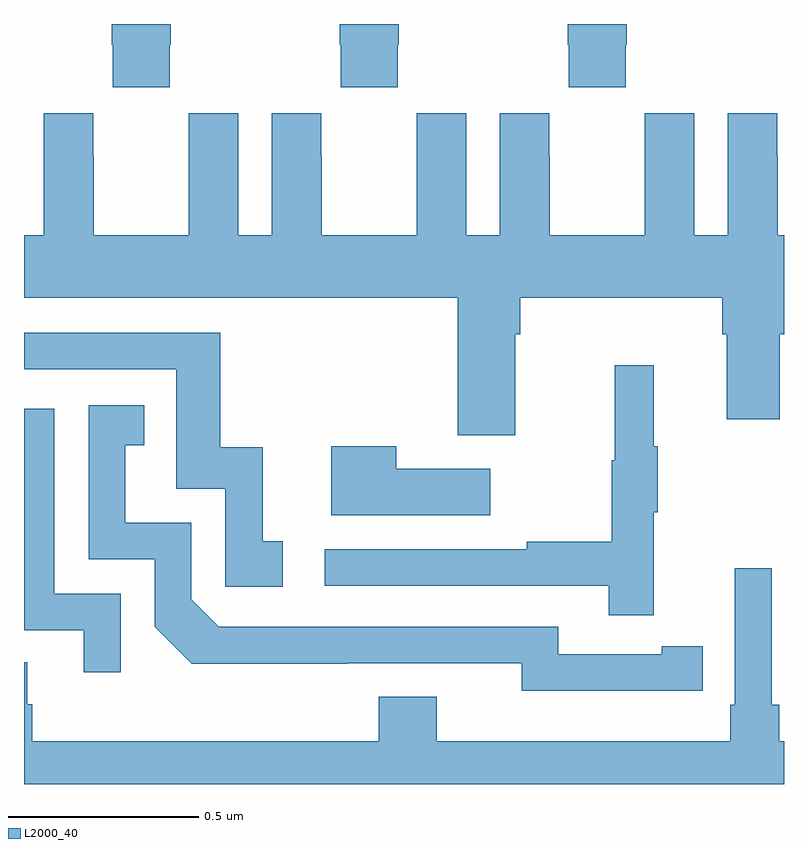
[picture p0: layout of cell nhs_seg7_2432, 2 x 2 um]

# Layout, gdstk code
import gdstk
lib = gdstk.Library(unit=1e-6, precision=1e-09)
def P(c, l, *ps):  # polygons
    for p in ps: c.add(gdstk.Polygon(p, *l))
L2000_40 = (2000, 40)

nhs_seg7_2432 = lib.new_cell('nhs_seg7_2432')
P(nhs_seg7_2432, L2000_40, [(146.583,1003.945),(146.586,1003.945),(146.586,1004),(146.431,1004),(146.431,1003.945),(146.433,1003.945),(146.433,1003.833),(146.583,1003.833)],
  [(145.383,1003.945),(145.386,1003.945),(145.386,1004),(145.231,1004),(145.231,1003.945),(145.233,1003.945),(145.233,1003.833),(145.383,1003.833)],
  [(145.983,1003.945),(145.986,1003.945),(145.986,1004),(145.831,1004),(145.831,1003.945),(145.833,1003.945),(145.833,1003.833),(145.983,1003.833)],
  [(146.293,1003.184),(146.306,1003.184),(146.306,1003.28),(146.837,1003.28),(146.837,1003.184),(146.849,1003.184),(146.849,1002.96),(146.989,1002.96),(146.989,1003.184),(147,1003.184),(147,1003.444),(146.983,1003.444),(146.983,1003.652),(146.982,1003.652),(146.982,1003.765),(146.852,1003.765),(146.852,1003.444),(146.764,1003.444),(146.764,1003.765),(146.634,1003.765),(146.634,1003.652),(146.633,1003.652),(146.633,1003.444),(146.383,1003.444),(146.383,1003.652),(146.382,1003.652),(146.382,1003.765),(146.252,1003.765),(146.252,1003.444),(146.164,1003.444),(146.164,1003.765),(146.034,1003.765),(146.034,1003.652),(146.033,1003.652),(146.033,1003.444),(145.783,1003.444),(145.783,1003.652),(145.782,1003.652),(145.782,1003.765),(145.652,1003.765),(145.652,1003.444),(145.564,1003.444),(145.564,1003.765),(145.434,1003.765),(145.434,1003.652),(145.433,1003.652),(145.433,1003.444),(145.183,1003.444),(145.183,1003.652),(145.182,1003.652),(145.182,1003.765),(145.052,1003.765),(145.052,1003.444),(145,1003.444),(145,1003.28),(146.141,1003.28),(146.141,1002.918),(146.293,1002.918)],
  [(145.681,1002.639),(145.628,1002.639),(145.628,1002.886),(145.517,1002.886),(145.517,1003.188),(145,1003.188),(145,1003.092),(145.401,1003.092),(145.401,1002.777),(145.53,1002.777),(145.53,1002.519),(145.681,1002.519)],
  [(146.657,1002.715),(146.668,1002.715),(146.668,1002.889),(146.657,1002.889),(146.657,1003.102),(146.554,1003.102),(146.554,1002.852),(146.547,1002.852),(146.547,1002.638),(146.323,1002.638),(146.323,1002.618),(145.791,1002.618),(145.791,1002.522),(146.539,1002.522),(146.539,1002.444),(146.657,1002.444)],
  [(146.678,1002.246),(146.786,1002.246),(146.786,1002.362),(146.678,1002.362),(146.678,1002.342),(146.406,1002.342),(146.406,1002.414),(145.512,1002.414),(145.44,1002.486),(145.44,1002.687),(145.267,1002.687),(145.267,1002.891),(145.316,1002.891),(145.316,1002.997),(145.17,1002.997),(145.17,1002.591),(145.344,1002.591),(145.344,1002.414),(145.442,1002.317),(145.85,1002.317),(145.85,1002.318),(146.31,1002.318),(146.31,1002.245),(146.678,1002.245)],
  [(145.254,1002.501),(145.08,1002.501),(145.08,1002.987),(145,1002.987),(145,1002.405),(145.157,1002.405),(145.157,1002.294),(145.254,1002.294)],
  [(146.227,1002.829),(145.979,1002.829),(145.979,1002.889),(145.808,1002.889),(145.808,1002.707),(146.227,1002.707)],
  [(147,1002.112),(146.987,1002.112),(146.987,1002.208),(146.968,1002.208),(146.968,1002.568),(146.871,1002.568),(146.871,1002.208),(146.858,1002.208),(146.858,1002.112),(146.086,1002.112),(146.086,1002.229),(145.934,1002.229),(145.934,1002.112),(145.022,1002.112),(145.022,1002.21),(145.009,1002.21),(145.009,1002.32),(145,1002.32),(145,1002),(147,1002)])

lib.write_gds('nhs_seg7_2432.gds')
